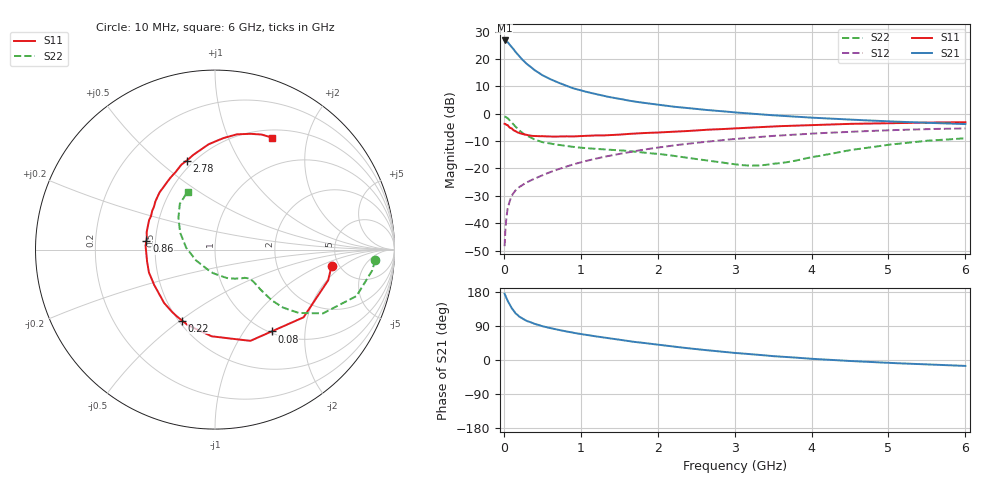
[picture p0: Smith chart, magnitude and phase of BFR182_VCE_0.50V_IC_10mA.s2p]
! Infineon Technologies  Discrete & RF Semiconductors
! BFR182
! VCE = 0.50 V,  IC =  10 mA
! Common Emitter S-Parameters:  Nov 2015
# GHz  S  MA  R  50
!  f  S11  S21  S12  S22
! GHz  MAG  ANG  MAG  ANG  MAG  ANG  MAG  ANG
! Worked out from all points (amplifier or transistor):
!   210 points, 10 MHz to 6 GHz, reference 50 ohm
!   highest |S21| = 26.8 dB at 10 MHz (marker M1)
!   |S21| within 3 dB of that: start of sweep to 119.9 MHz
!   unconditionally stable (mu >= 1): 408.4 MHz to end of sweep
!   at 185 MHz: K = 0.64, MSG = 24.3 dB, |S12| = -27.2 dB
!   at 1.52 GHz: K = 1.22, MAG = 7.1 dB, |S12| = -14.6 dB
!   at 6 GHz: K = 1.06, MAG = -0.7 dB, |S12| = -5.4 dB
!   S11 on the Smith chart (normalised r, x): 10 MHz: 4.33, -1.40; 80 MHz: 1.02, -1.35; 220 MHz: 0.52, -0.51; 860 MHz: 0.44, +0.05; 2.78 GHz: 0.46, +0.62; 6 GHz: 0.60, +1.46
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0.01  0.6557 -8.1  21.89 174.9  0.0038 83.3  0.8945 -3.8
0.02  0.6533 -15.2  21.61 169.7  0.0075 82.5  0.8832 -7.6
0.05  0.6211 -37.4  20.37 155.6  0.0186 73.2  0.8303 -18.1
0.08  0.5545 -55.3  18.05 145.3  0.0262 66.0  0.7469 -25.1
0.1  0.5452 -68.8  16.9 137.0  0.0314 63.1  0.6987 -30.6
0.15  0.4834 -92.2  13.63 123.5  0.0395 57.6  0.5851 -37.1
0.2  0.4469 -110.0  11.24 114.5  0.0457 55.6  0.4962 -40.5
0.22  0.4357 -114.9  10.5 112.1  0.0477 55.3  0.4718 -40.9
0.26  0.4212 -124.8  9.171 107.0  0.0517 55.0  0.4278 -41.7
0.3  0.4109 -133.6  8.12 102.9  0.0559 55.8  0.3976 -41.7
0.4  0.3919 -149.9  6.27 95.3  0.0652 57.0  0.3391 -41.3
0.5  0.3895 -160.9  5.085 89.2  0.0748 58.8  0.3034 -40.5
0.6  0.3843 -169.8  4.321 84.3  0.0855 59.8  0.2853 -39.9
0.86  0.3855 173.0  3.073 73.6  0.1137 61.1  0.2531 -40.2
1.02  0.3935 164.6  2.628 68.0  0.1317 61.1  0.2386 -41.6
1.4  0.4109 148.4  1.985 56.5  0.1736 59.2  0.2186 -47.0
2.02  0.4558 127.6  1.455 39.9  0.2427 53.6  0.1841 -61.6
2.78  0.5201 107.7  1.134 23.2  0.3242 44.8  0.1322 -93.7
3.1  0.5495 100.9  1.035 17.2  0.355 40.7  0.115 -116.1
4.1  0.6285 84.4  0.836 2.1  0.4412 27.6  0.1696 170.7
5.1  0.6779 71.9  0.718 -8.4  0.5048 14.8  0.2803 136.2
6  0.7002 63.0  0.648 -15.6  0.5396 3.4  0.3573 115.2
